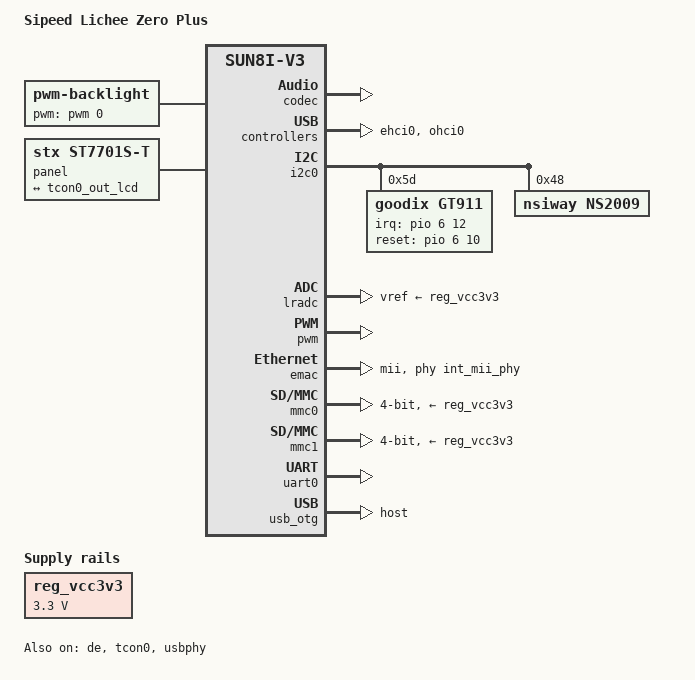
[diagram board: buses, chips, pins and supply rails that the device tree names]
// SPDX-License-Identifier: (GPL-2.0+ OR MIT)
/*
 * Copyright (C) 2019 Icenowy Zheng <icenowy@aosc.io>
 */

/dts-v1/;
#include "sun8i-v3.dtsi"

#include <dt-bindings/gpio/gpio.h>
#include <dt-bindings/input/input.h>

/ {
	model = "Sipeed Lichee Zero Plus";
	compatible = "sipeed,lichee-zero-plus", "sochip,s3",
		     "allwinner,sun8i-v3";

	aliases {
		serial0 = &uart0;
		ethernet0 = &emac;
	};

	chosen {
		stdout-path = "serial0:115200n8";
	};

	leds {
		compatible = "gpio-leds";
		status = "disabled";

		blue_led {
			label = "licheepi:blue:usr";
			gpios = <&pio 4 4 GPIO_ACTIVE_LOW>; /* PE4 */
		};

		green_led {
			label = "licheepi:green:usr";
			gpios = <&pio 4 7 GPIO_ACTIVE_LOW>; /* PE7 */
			default-state = "on";
		};

		red_led {
			label = "licheepi:red:usr";
			gpios = <&pio 4 8 GPIO_ACTIVE_LOW>; /* PE8 */
		};
	};

	reg_vcc3v3: vcc3v3 {
		compatible = "regulator-fixed";
		regulator-name = "vcc3v3";
		regulator-min-microvolt = <3300000>;
		regulator-max-microvolt = <3300000>;
	};

	backlight: backlight {
		compatible = "pwm-backlight";
		pwms = <&pwm 0 1000000 1>;
		brightness-levels = <0 30 40 50 60 70 100>;
		default-brightness-level = <6>;
	};

	panel: panel {
		#address-cells = <1>;
		#size-cells = <0>;
		// compatible = "urt,umsh-8596md-t", "simple-panel";
		compatible = "stx,st7701s-t", "simple-panel";

		port@0 {
			reg = <0>;
			backlight = <&backlight>;
			#address-cells = <1>;
			#size-cells = <0>;

			panel_input: endpoint@0 {
				reg = <0>;
				remote-endpoint = <&tcon0_out_lcd>;
			};
		};

		// compatible = "panel-lvds";

		// data-mapping = "jeida-18";
		// width-mm = <54>;
		// height-mm = <95>;

		// panel-timing {
		// 		clock-frequency = <33000000>;
		// 		hactive = <360>;
		// 		vactive = <640>;
		// 		hfront-porch = <40>;
		// 		hsync-len = <1>;
		// 		hback-porch = <200>;
		// 		vfront-porch = <12>;
		// 		vsync-len = <1>;
		// 		vback-porch = <30>;
		// 		hsync-active = <0>;
		// 		vsync-active = <0>;
		// 		pixelclk-active = <0>;
		// };

		// port@0 {
		// 	reg = <0>;
		// 	backlight = <&backlight>;
		// 	#address-cells = <1>;
		// 	#size-cells = <0>;

		// 	panel_input: endpoint@0 {
		// 		reg = <0>;
		// 		remote-endpoint = <&tcon0_out_lcd>;
		// 	};
		// };
	};
};

&codec {
	allwinner,audio-routing =
		"Headphone", "HP",
		"Headphone", "HPCOM",
		"MIC1", "Mic",
		"Mic",  "HBIAS";
	status = "okay";
};

&de {
	status = "okay";
};

&ehci0 {
	status = "okay";
};

&i2c0 {
	status = "okay";

	gt911: touchscreen@5d {
        compatible = "goodix,gt911";
        reg = <0x5d>;
        interrupt-parent = <&pio>;
        interrupts = <6 12 IRQ_TYPE_LEVEL_HIGH>; /* (PE18) */
        irq-gpios = <&pio 6 12 GPIO_ACTIVE_HIGH>; /* (PE18) */
        reset-gpios = <&pio 6 10 GPIO_ACTIVE_HIGH>; /* RST (PE17) */
        /* touchscreen-swapped-x-y */
    };

	ns2009: ns2009@48 {
		compatible = "nsiway,ns2009";
		reg = <0x48>;
	};
};

&lradc {
	vref-supply = <&reg_vcc3v3>;
	status = "okay";

	button-430 {
		label = "key0";
		linux,code = <BTN_0>;
		channel = <0>;
		voltage = <430000>;
	};

	button-1060 {
		label = "key1";
		linux,code = <BTN_1>;
		channel = <0>;
		voltage = <1060000>;
	};

	button-1650 {
		label = "key2";
		linux,code = <BTN_2>;
		channel = <0>;
		voltage = <1650000>;
	};
};

&pwm {
	pinctrl-names = "default";
	pinctrl-0 = <&pwm0_pins>;
	status = "okay";
};

&tcon0 {
	pinctrl-names = "default";
	pinctrl-0 = <&lcd_rgb666_pins_a>;
	status = "okay";
};

&tcon0_out {
	tcon0_out_lcd: endpoint@0 {
		reg = <0>;
		remote-endpoint = <&panel_input>;
	};
};

&emac {
	phy-handle = <&int_mii_phy>;
	phy-mode = "mii";
	allwinner,leds-active-low;
	status = "okay";
};

&mmc0 {
	broken-cd;
	bus-width = <4>;
	vmmc-supply = <&reg_vcc3v3>;
	status = "okay";
};

&mmc1 {
	broken-cd;
	bus-width = <4>;
	vmmc-supply = <&reg_vcc3v3>;
	status = "okay";
};

&ohci0 {
	status = "okay";
};

&uart0 {
	pinctrl-0 = <&uart0_pb_pins>;
	pinctrl-names = "default";
	status = "okay";
};

&usb_otg {
	dr_mode = "host";
	status = "okay";
};

&usbphy {
	usb0_id_det-gpios = <&pio 5 6 GPIO_ACTIVE_HIGH>;
	status = "okay";
};
